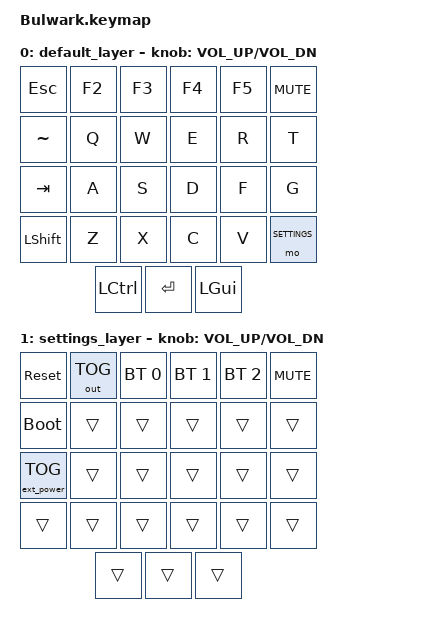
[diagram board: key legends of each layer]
/*
 * Copyright (c) 2020 The ZMK Contributors
 *
 * SPDX-License-Identifier: MIT
 */
 
#include <behaviors.dtsi>
#include <dt-bindings/zmk/keys.h>
#include <dt-bindings/zmk/bt.h>
#include <dt-bindings/zmk/ext_power.h>
#include <dt-bindings/zmk/outputs.h>
#include <dt-bindings/zmk/rgb.h>

/ {

#define BASE 0
#define SETTINGS 1

//=====================================================================================================
  behaviors {
        ls: homerow_mods {
            compatible = "zmk,behavior-hold-tap";
            #binding-cells = <2>;
            tapping-term-ms = <200>;
            quick-tap-ms = <0>;
            flavor = "tap-preferred";
            bindings = <&kp>, <&tog>;
        };
    };
//=====================================================================================================
//  combos {};
//=====================================================================================================
    macros {
    //This is just an example macro for testing purposes. Define the name and purpose later
        macro: zed_em_kay {
            compatible = "zmk,behavior-macro";
            #binding-cells = <0>;
            bindings
                = <&macro_press &kp LSHFT>
                , <&macro_tap &kp Z &kp M &kp K>
                , <&macro_release &kp LSHFT>
                ;
        };
    };
//=====================================================================================================
    keymap {
        compatible = "zmk,keymap";

        default_layer {
    // ---------------------------------------------------------------------------------------------------
            bindings = <
//              + --------- + --------- + --------- + --------- + --------- +
//                   ESC          F1         F2           F3         F4         ENCODER
                   &kp ESC      &kp F2     &kp F3       &kp F4     &kp F5      &kp C_MUTE
//              + --------- + --------- + --------- + --------- + --------- +
//              + --------- + --------- + --------- + --------- + --------- + ---------- +
//                   TILDE        Q           W           E           R           T
                  &kp TILDE     &kp Q       &kp W       &kp E       &kp R        &kp T
//              + --------- + --------- + --------- + --------- + --------- + ---------- +
//              + --------- + --------- + --------- + --------- + --------- + ---------- +
//                   TAB          A           S           D           F           G
                  &kp TAB       &kp A       &kp S       &kp D       &kp F        &kp G
//              + --------- + --------- + --------- + --------- + --------- + ---------- +
//              + --------- + --------- + --------- + --------- + --------- + ---------- +
//                  SHIFT         Z          X            C           V         Settings
                  &kp LSHFT     &kp Z       &kp X       &kp C       &kp V     &mo SETTINGS
//              + --------- + --------- + --------- + --------- + --------- + ---------- +
//      + --------- + --------- + --------- +
//          CTRL        ENTER       COMMAND
          &kp LCTRL    &kp RET     &kp LGUI
//      + --------- + --------- + --------- +
            >;
            
            sensor-bindings =
                <&inc_dec_kp C_VOL_UP C_VOL_DN>;
        };
    // ---------------------------------------------------------------------------------------------------
        
        settings_layer {
    // ---------------------------------------------------------------------------------------------------
            bindings = <
//              + --------- + --------- + --------- + --------- + --------- +
//                  RESET        OUT      Profile1     Profile2    Profile3       ENCODER
                 &sys_reset  &out OUT_TOG &bt BT_SEL 0 &bt BT_SEL 1 &bt BT_SEL 2 &kp C_MUTE
//              + --------- + --------- + --------- + --------- + --------- +
//              + --------- + --------- + --------- + --------- + --------- + ---------- +
//                  BOOT
                 &bootloader    &trans      &trans      &trans      &trans       &trans
//              + --------- + --------- + --------- + --------- + --------- + ---------- +
//              + --------- + --------- + --------- + --------- + --------- + ---------- +
//             TOGGLE BATTERY
              &ext_power EP_TOG &trans      &trans      &trans     &trans       &trans
//              + --------- + --------- + --------- + --------- + --------- + ---------- +
//              + --------- + --------- + --------- + --------- + --------- + ---------- +
//
                    &trans     &trans      &trans       &trans      &trans      &trans
//              + --------- + --------- + --------- + --------- + --------- + ---------- +
//      + --------- + --------- + --------- +
//
            &trans     &trans      &trans
//      + --------- + --------- + --------- +
            >;
            
            sensor-bindings =
                <&inc_dec_kp C_VOL_UP C_VOL_DN>;
        };
    };
 //=====================================================================================================
};
